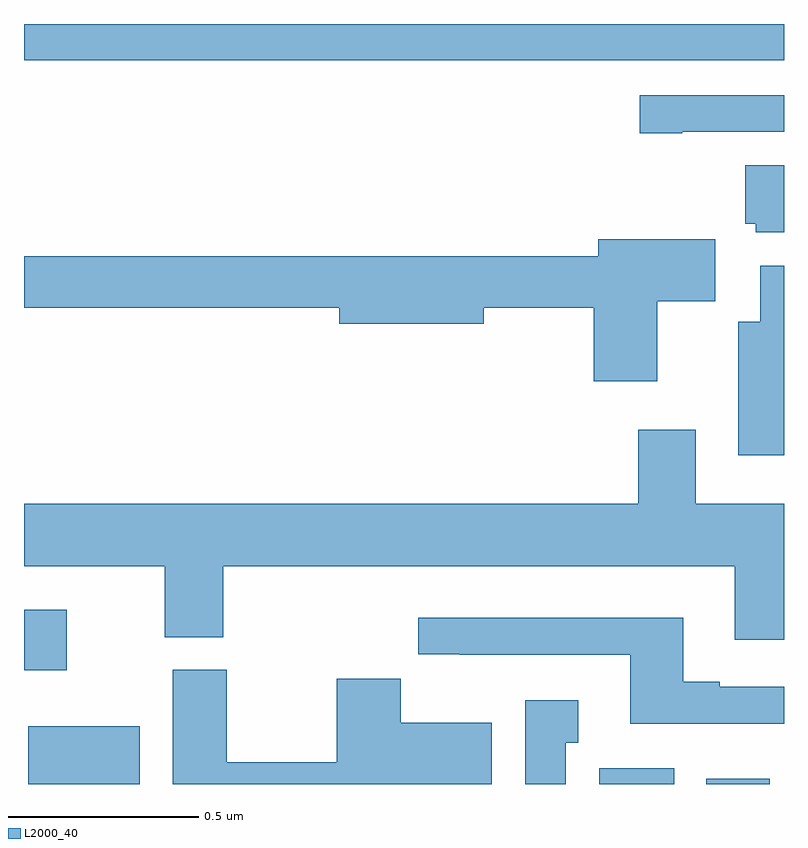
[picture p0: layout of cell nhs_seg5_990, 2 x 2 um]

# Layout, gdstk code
import gdstk
lib = gdstk.Library(unit=1e-6, precision=1e-09)
def R(c, l, rs):  # rectangles x0, y0, x1, y1
    for r in rs: c.add(gdstk.rectangle(r[:2], r[2:], *l))
def P(c, l, *ps):  # polygons
    for p in ps: c.add(gdstk.Polygon(p, *l))
L2000_40 = (2000, 40)

nhs_seg5_990 = lib.new_cell('nhs_seg5_990')
R(nhs_seg5_990, L2000_40, [(123.011,910.799,123.304,910.951), (124.514,910.799,124.711,910.84), (124.796,910.799,124.963,910.813), (123,911.099,123.112,911.257), (123,912.704,125,912.799)])
P(nhs_seg5_990, L2000_40, [(124.732,912.516),(125,912.516),(125,912.612),(124.62,912.612),(124.62,912.511),(124.732,912.511)],
  [(125,912.427),(124.898,912.427),(124.898,912.273),(124.926,912.273),(124.926,912.251),(125,912.251)],
  [(124.666,912.07),(124.819,912.07),(124.819,912.232),(124.511,912.232),(124.511,912.188),(123,912.188),(123,912.052),(123.83,912.052),(123.83,912.01),(124.21,912.01),(124.21,912.052),(124.499,912.052),(124.499,911.859),(124.666,911.859)],
  [(125,912.163),(124.937,912.163),(124.937,912.016),(124.88,912.016),(124.88,911.664),(125,911.664)],
  [(125,911.536),(124.768,911.536),(124.768,911.731),(124.616,911.731),(124.616,911.536),(123,911.536),(123,911.372),(123.371,911.372),(123.371,911.185),(123.524,911.185),(123.524,911.372),(124.871,911.372),(124.871,911.178),(125,911.178)],
  [(125,911.055),(124.831,911.055),(124.831,911.068),(124.735,911.068),(124.735,911.236),(124.038,911.236),(124.038,911.141),(124.147,911.141),(124.147,911.139),(124.595,911.139),(124.595,910.958),(125,910.958)],
  [(124.231,910.96),(123.991,910.96),(123.991,911.076),(123.823,911.076),(123.823,910.856),(123.534,910.856),(123.534,911.1),(123.392,911.1),(123.392,910.799),(124.231,910.799)],
  [(124.426,910.907),(124.459,910.907),(124.459,911.02),(124.319,911.02),(124.319,910.799),(124.426,910.799)])

lib.write_gds('nhs_seg5_990.gds')
